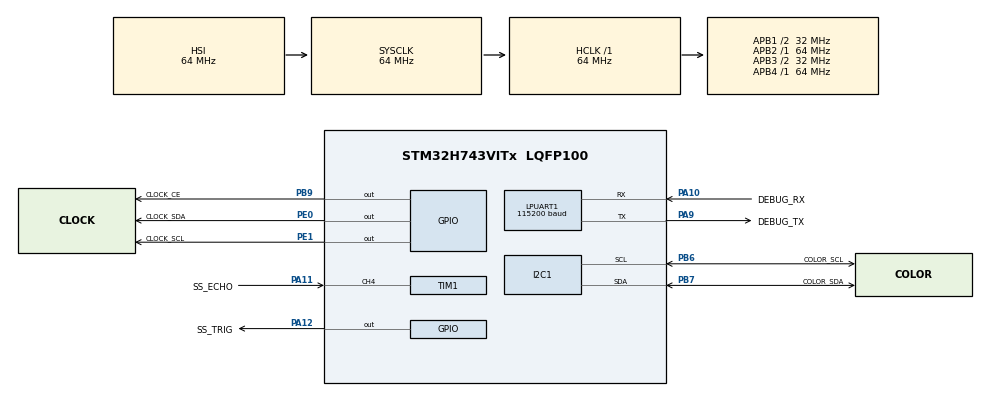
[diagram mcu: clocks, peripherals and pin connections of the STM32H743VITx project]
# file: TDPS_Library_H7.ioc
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I2C1.Speed=10
I2C1.Timing=0x6010C7FF
LPUART1.BaudRate=115200
Mcu.Family=STM32H7
Mcu.Name=STM32H743VITx
Mcu.Package=LQFP100
NVIC.PriorityGroup=NVIC_PRIORITYGROUP_4
NVIC.TIM1_CC_IRQn=true\:0\:0\:false\:false\:true\:true\:true
NVIC.TIM1_UP_IRQn=true\:0\:0\:false\:false\:true\:true\:true
PA10.GPIO_Label=DEBUG_RX
PA10.Mode=Asynchronous
PA10.Signal=LPUART1_RX
PA11.GPIO_Label=SS_ECHO
PA11.GPIO_PuPd=GPIO_PULLDOWN
PA11.Signal=S_TIM1_CH4
PA12.GPIO_Label=SS_TRIG
PA12.Signal=GPIO_Output
PA9.GPIO_Label=DEBUG_TX
PA9.Mode=Asynchronous
PA9.Signal=LPUART1_TX
PB6.GPIO_Label=COLOR_SCL
PB6.Mode=I2C
PB6.Signal=I2C1_SCL
PB7.GPIO_Label=COLOR_SDA
PB7.Mode=I2C
PB7.Signal=I2C1_SDA
PB9.GPIO_Label=CLOCK_CE
PB9.Signal=GPIO_Output
PC14-OSC32_IN\ (OSC32_IN).Mode=LSE-External-Oscillator
PC14-OSC32_IN\ (OSC32_IN).Signal=RCC_OSC32_IN
PC15-OSC32_OUT\ (OSC32_OUT).Mode=LSE-External-Oscillator
PC15-OSC32_OUT\ (OSC32_OUT).Signal=RCC_OSC32_OUT
PE0.GPIO_Label=CLOCK_SDA
PE0.Signal=GPIO_Output
PE1.GPIO_Label=CLOCK_SCL
PE1.Signal=GPIO_Output
PH0-OSC_IN\ (PH0).Mode=HSE-External-Oscillator
PH0-OSC_IN\ (PH0).Signal=RCC_OSC_IN
PH1-OSC_OUT\ (PH1).Mode=HSE-External-Oscillator
PH1-OSC_OUT\ (PH1).Signal=RCC_OSC_OUT
ProjectManager.HeapSize=0x200
ProjectManager.StackSize=0x400
ProjectManager.TargetToolchain=SW4STM32
RCC.ADCFreq_Value=129000000
RCC.APB1Freq_Value=32000000
RCC.APB2Freq_Value=64000000
RCC.APB3Freq_Value=32000000
RCC.APB4Freq_Value=64000000
RCC.CortexFreq_Value=64000000
RCC.D1PPRE=RCC_APB3_DIV2
RCC.D2PPRE1=RCC_APB1_DIV2
RCC.HCLKFreq_Value=64000000
RCC.HSE_VALUE=25000000
RCC.SYSCLKFreq_VALUE=64000000
RCC.USBFreq_Value=129000000
SH.S_TIM1_CH4.0=TIM1_CH4,Input_Capture4_from_TI4
TIM1.Channel-Input_Capture4_from_TI4=TIM_CHANNEL_4
TIM1.ICFilter_CH4=8
TIM1.ICPolarity_CH4=TIM_INPUTCHANNELPOLARITY_BOTHEDGE
TIM1.Period=999
TIM1.Prescaler=63
board=custom

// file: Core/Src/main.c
/* USER CODE BEGIN Header */
/**
  ******************************************************************************
  * @file           : main.c
  * @brief          : Main program body
  ******************************************************************************
  * @attention
  *
  * <h2><center>&copy; Copyright (c) 2021 STMicroelectronics.
  * All rights reserved.</center></h2>
  *
  * This software component is licensed by ST under BSD 3-Clause license,
  * the "License"; You may not use this file except in compliance with the
  * License. You may obtain a copy of the License at:
  *                        opensource.org/licenses/BSD-3-Clause
  *
  ******************************************************************************
  */
/* USER CODE END Header */
#include "main.h"

/* USER CODE BEGIN Includes */
#include "TCS34725.h"
#include "DS1302.h"
#include "stdio.h"
#include "HCSR04.h"
/* USER CODE END Includes */

I2C_HandleTypeDef hi2c1;

UART_HandleTypeDef hlpuart1;

TIM_HandleTypeDef htim1;

/* USER CODE BEGIN PV */
TCS34725* color_picker = &hi2c1;
DS1302 clock = {
        CLOCK_SCL_GPIO_Port, CLOCK_SCL_Pin,
        CLOCK_SDA_GPIO_Port, CLOCK_SDA_Pin,
        CLOCK_CE_GPIO_Port, CLOCK_CE_Pin
};

HCSR04_Connector hcsr04_connector = {
        SS_TRIG_GPIO_Port, SS_TRIG_Pin,
        SS_ECHO_GPIO_Port, SS_ECHO_Pin
};
HCSR04_Time hcsr04_echo_ime = {};
HCSR04 hcsr04 = {
        &hcsr04_connector,
        &hcsr04_echo_ime,
        &htim1,
        TIM_CHANNEL_4
};
/* USER CODE END PV */

void SystemClock_Config(void);
static void MX_GPIO_Init(void);
static void MX_LPUART1_UART_Init(void);
static void MX_I2C1_Init(void);
static void MX_TIM1_Init(void);

int main(void)
{

  /* MCU Configuration--------------------------------------------------------*/

  /* Reset of all peripherals, Initializes the Flash interface and the Systick. */
  HAL_Init();

  /* Configure the system clock */
  SystemClock_Config();

  /* Initialize all configured peripherals */
  MX_GPIO_Init();
  MX_LPUART1_UART_Init();
  MX_I2C1_Init();
  MX_TIM1_Init();
  /* USER CODE BEGIN 2 */
    HCSR04_Init(&hcsr04);

  /* USER CODE END 2 */

  /* Infinite loop */
  /* USER CODE BEGIN WHILE */
  while (1)
  {
      HCSR04_Trig(&hcsr04);
      printf("%lf\r\n", hcsr04.distance);
      HAL_Delay(200);

    /* USER CODE END WHILE */

  }
}

void SystemClock_Config(void)
{
  RCC_OscInitTypeDef RCC_OscInitStruct = {0};
  RCC_ClkInitTypeDef RCC_ClkInitStruct = {0};

  /** Supply configuration update enable
  */
  HAL_PWREx_ConfigSupply(PWR_LDO_SUPPLY);
  /** Configure the main internal regulator output voltage
  */
  __HAL_PWR_VOLTAGESCALING_CONFIG(PWR_REGULATOR_VOLTAGE_SCALE3);

  while(!__HAL_PWR_GET_FLAG(PWR_FLAG_VOSRDY)) {}
  /** Initializes the RCC Oscillators according to the specified parameters
  * in the RCC_OscInitTypeDef structure.
  */
  RCC_OscInitStruct.OscillatorType = RCC_OSCILLATORTYPE_HSI;
  RCC_OscInitStruct.HSIState = RCC_HSI_DIV1;
  RCC_OscInitStruct.HSICalibrationValue = RCC_HSICALIBRATION_DEFAULT;
  RCC_OscInitStruct.PLL.PLLState = RCC_PLL_NONE;
  if (HAL_RCC_OscConfig(&RCC_OscInitStruct) != HAL_OK)
  {
    Error_Handler();
  }
  /** Initializes the CPU, AHB and APB buses clocks
  */
  RCC_ClkInitStruct.ClockType = RCC_CLOCKTYPE_HCLK|RCC_CLOCKTYPE_SYSCLK
                              |RCC_CLOCKTYPE_PCLK1|RCC_CLOCKTYPE_PCLK2
                              |RCC_CLOCKTYPE_D3PCLK1|RCC_CLOCKTYPE_D1PCLK1;
  RCC_ClkInitStruct.SYSCLKSource = RCC_SYSCLKSOURCE_HSI;
  RCC_ClkInitStruct.SYSCLKDivider = RCC_SYSCLK_DIV1;
  RCC_ClkInitStruct.AHBCLKDivider = RCC_HCLK_DIV1;
  RCC_ClkInitStruct.APB3CLKDivider = RCC_APB3_DIV2;
  RCC_ClkInitStruct.APB1CLKDivider = RCC_APB1_DIV2;
  RCC_ClkInitStruct.APB2CLKDivider = RCC_APB2_DIV1;
  RCC_ClkInitStruct.APB4CLKDivider = RCC_APB4_DIV1;

  if (HAL_RCC_ClockConfig(&RCC_ClkInitStruct, FLASH_LATENCY_1) != HAL_OK)
  {
    Error_Handler();
  }
}

static void MX_I2C1_Init(void)
{

  hi2c1.Instance = I2C1;
  hi2c1.Init.Timing = 0x6010C7FF;
  hi2c1.Init.OwnAddress1 = 0;
  hi2c1.Init.AddressingMode = I2C_ADDRESSINGMODE_7BIT;
  hi2c1.Init.DualAddressMode = I2C_DUALADDRESS_DISABLE;
  hi2c1.Init.OwnAddress2 = 0;
  hi2c1.Init.OwnAddress2Masks = I2C_OA2_NOMASK;
  hi2c1.Init.GeneralCallMode = I2C_GENERALCALL_DISABLE;
  hi2c1.Init.NoStretchMode = I2C_NOSTRETCH_DISABLE;
  if (HAL_I2C_Init(&hi2c1) != HAL_OK)
  {
    Error_Handler();
  }
  /** Configure Analogue filter
  */
  if (HAL_I2CEx_ConfigAnalogFilter(&hi2c1, I2C_ANALOGFILTER_ENABLE) != HAL_OK)
  {
    Error_Handler();
  }
  /** Configure Digital filter
  */
  if (HAL_I2CEx_ConfigDigitalFilter(&hi2c1, 0) != HAL_OK)
  {
    Error_Handler();
  }

}

static void MX_LPUART1_UART_Init(void)
{

  hlpuart1.Instance = LPUART1;
  hlpuart1.Init.BaudRate = 115200;
  hlpuart1.Init.WordLength = UART_WORDLENGTH_8B;
  hlpuart1.Init.StopBits = UART_STOPBITS_1;
  hlpuart1.Init.Parity = UART_PARITY_NONE;
  hlpuart1.Init.Mode = UART_MODE_TX_RX;
  hlpuart1.Init.HwFlowCtl = UART_HWCONTROL_NONE;
  hlpuart1.Init.OneBitSampling = UART_ONE_BIT_SAMPLE_DISABLE;
  hlpuart1.Init.ClockPrescaler = UART_PRESCALER_DIV1;
  hlpuart1.AdvancedInit.AdvFeatureInit = UART_ADVFEATURE_NO_INIT;
  hlpuart1.FifoMode = UART_FIFOMODE_DISABLE;
  if (HAL_UART_Init(&hlpuart1) != HAL_OK)
  {
    Error_Handler();
  }
  if (HAL_UARTEx_SetTxFifoThreshold(&hlpuart1, UART_TXFIFO_THRESHOLD_1_8) != HAL_OK)
  {
    Error_Handler();
  }
  if (HAL_UARTEx_SetRxFifoThreshold(&hlpuart1, UART_RXFIFO_THRESHOLD_1_8) != HAL_OK)
  {
    Error_Handler();
  }
  if (HAL_UARTEx_DisableFifoMode(&hlpuart1) != HAL_OK)
  {
    Error_Handler();
  }

}

static void MX_TIM1_Init(void)
{

  TIM_MasterConfigTypeDef sMasterConfig = {0};
  TIM_IC_InitTypeDef sConfigIC = {0};

  htim1.Instance = TIM1;
  htim1.Init.Prescaler = 63;
  htim1.Init.CounterMode = TIM_COUNTERMODE_UP;
  htim1.Init.Period = 999;
  htim1.Init.ClockDivision = TIM_CLOCKDIVISION_DIV1;
  htim1.Init.RepetitionCounter = 0;
  htim1.Init.AutoReloadPreload = TIM_AUTORELOAD_PRELOAD_DISABLE;
  if (HAL_TIM_IC_Init(&htim1) != HAL_OK)
  {
    Error_Handler();
  }
  sMasterConfig.MasterOutputTrigger = TIM_TRGO_RESET;
  sMasterConfig.MasterOutputTrigger2 = TIM_TRGO2_RESET;
  sMasterConfig.MasterSlaveMode = TIM_MASTERSLAVEMODE_DISABLE;
  if (HAL_TIMEx_MasterConfigSynchronization(&htim1, &sMasterConfig) != HAL_OK)
  {
    Error_Handler();
  }
  sConfigIC.ICPolarity = TIM_INPUTCHANNELPOLARITY_BOTHEDGE;
  sConfigIC.ICSelection = TIM_ICSELECTION_DIRECTTI;
  sConfigIC.ICPrescaler = TIM_ICPSC_DIV1;
  sConfigIC.ICFilter = 8;
  if (HAL_TIM_IC_ConfigChannel(&htim1, &sConfigIC, TIM_CHANNEL_4) != HAL_OK)
  {
    Error_Handler();
  }

}

static void MX_GPIO_Init(void)
{
  GPIO_InitTypeDef GPIO_InitStruct = {0};

  /* GPIO Ports Clock Enable */
  __HAL_RCC_GPIOC_CLK_ENABLE();
  __HAL_RCC_GPIOH_CLK_ENABLE();
  __HAL_RCC_GPIOA_CLK_ENABLE();
  __HAL_RCC_GPIOB_CLK_ENABLE();
  __HAL_RCC_GPIOE_CLK_ENABLE();

  /*Configure GPIO pin Output Level */
  HAL_GPIO_WritePin(SS_TRIG_GPIO_Port, SS_TRIG_Pin, GPIO_PIN_RESET);

  /*Configure GPIO pin Output Level */
  HAL_GPIO_WritePin(CLOCK_CE_GPIO_Port, CLOCK_CE_Pin, GPIO_PIN_RESET);

  /*Configure GPIO pin Output Level */
  HAL_GPIO_WritePin(GPIOE, CLOCK_SDA_Pin|CLOCK_SCL_Pin, GPIO_PIN_RESET);

  /*Configure GPIO pin : SS_TRIG_Pin */
  GPIO_InitStruct.Pin = SS_TRIG_Pin;
  GPIO_InitStruct.Mode = GPIO_MODE_OUTPUT_PP;
  GPIO_InitStruct.Pull = GPIO_NOPULL;
  GPIO_InitStruct.Speed = GPIO_SPEED_FREQ_LOW;
  HAL_GPIO_Init(SS_TRIG_GPIO_Port, &GPIO_InitStruct);

  /*Configure GPIO pin : CLOCK_CE_Pin */
  GPIO_InitStruct.Pin = CLOCK_CE_Pin;
  GPIO_InitStruct.Mode = GPIO_MODE_OUTPUT_PP;
  GPIO_InitStruct.Pull = GPIO_NOPULL;
  GPIO_InitStruct.Speed = GPIO_SPEED_FREQ_LOW;
  HAL_GPIO_Init(CLOCK_CE_GPIO_Port, &GPIO_InitStruct);

  /*Configure GPIO pins : CLOCK_SDA_Pin CLOCK_SCL_Pin */
  GPIO_InitStruct.Pin = CLOCK_SDA_Pin|CLOCK_SCL_Pin;
  GPIO_InitStruct.Mode = GPIO_MODE_OUTPUT_PP;
  GPIO_InitStruct.Pull = GPIO_NOPULL;
  GPIO_InitStruct.Speed = GPIO_SPEED_FREQ_LOW;
  HAL_GPIO_Init(GPIOE, &GPIO_InitStruct);

}

void Error_Handler(void)
{
  __disable_irq();
  while (1)
  {
  }
}

/************************ (C) COPYRIGHT STMicroelectronics *****END OF FILE****/
